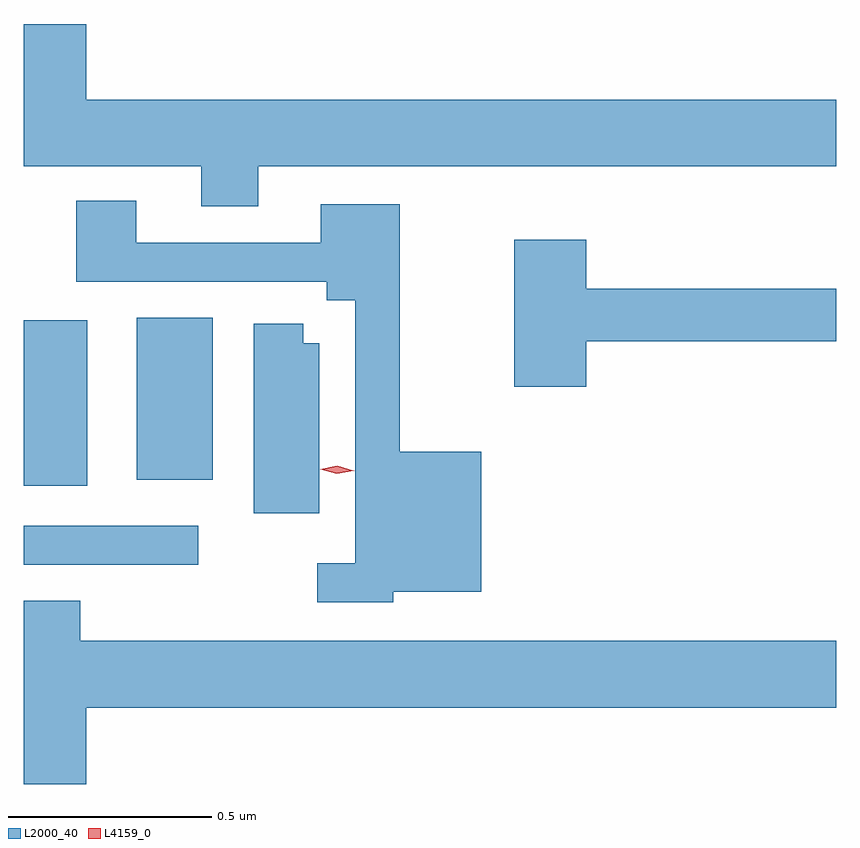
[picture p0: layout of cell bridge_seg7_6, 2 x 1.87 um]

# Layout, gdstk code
import gdstk
lib = gdstk.Library(unit=1e-6, precision=1e-09)
def R(c, l, rs):  # rectangles x0, y0, x1, y1
    for r in rs: c.add(gdstk.rectangle(r[:2], r[2:], *l))
def P(c, l, *ps):  # polygons
    for p in ps: c.add(gdstk.Polygon(p, *l))
L2000_40 = (2000, 40)
L4159_0 = (4159, 0)

bridge_seg7_6 = lib.new_cell('bridge_seg7_6')
R(bridge_seg7_6, L2000_40, [(1028.154,1078.224,1028.584,1078.32), (1028.154,1078.418,1028.311,1078.825), (1028.432,1078.433,1028.62,1078.831)])
P(bridge_seg7_6, L2000_40, [(1028.731,1079.204),(1030.154,1079.204),(1030.154,1079.368),(1028.308,1079.368),(1028.308,1079.554),(1028.154,1079.554),(1028.154,1079.204),(1028.591,1079.204),(1028.591,1079.105),(1028.731,1079.105)],
  [(1029.063,1078.157),(1029.28,1078.157),(1029.28,1078.501),(1029.079,1078.501),(1029.079,1079.11),(1028.885,1079.11),(1028.885,1079.016),(1028.431,1079.016),(1028.431,1079.119),(1028.284,1079.119),(1028.284,1078.92),(1028.9,1078.92),(1028.9,1078.874),(1028.97,1078.874),(1028.97,1078.227),(1028.877,1078.227),(1028.877,1078.131),(1029.063,1078.131)],
  [(1029.539,1078.774),(1030.154,1078.774),(1030.154,1078.903),(1029.539,1078.903),(1029.539,1079.023),(1029.361,1079.023),(1029.361,1078.662),(1029.539,1078.662)],
  [(1028.881,1078.768),(1028.842,1078.768),(1028.842,1078.817),(1028.72,1078.817),(1028.72,1078.35),(1028.881,1078.35)],
  [(1028.308,1077.872),(1030.154,1077.872),(1030.154,1078.036),(1028.294,1078.036),(1028.294,1078.135),(1028.154,1078.135),(1028.154,1077.684),(1028.308,1077.684)])
P(bridge_seg7_6, L4159_0, [(1028.925,1078.447),(1028.884,1078.458),(1028.884,1078.458),(1028.884,1078.458),(1028.926,1078.467),(1028.966,1078.455),(1028.967,1078.455),(1028.966,1078.455)])

lib.write_gds('bridge_seg7_6.gds')
